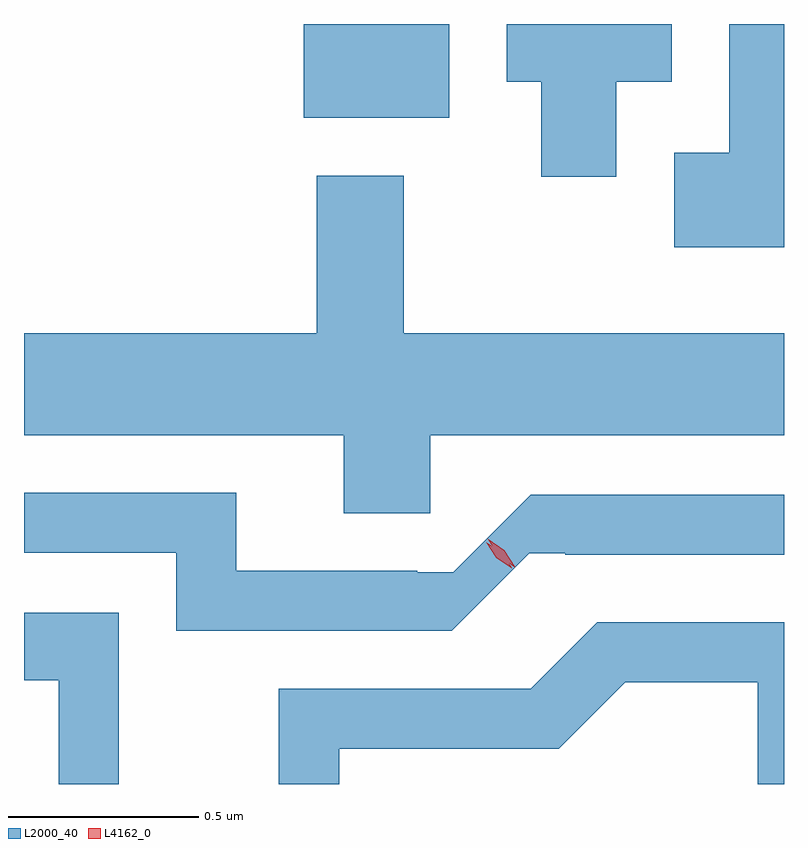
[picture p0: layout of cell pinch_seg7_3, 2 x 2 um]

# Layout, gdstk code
import gdstk
lib = gdstk.Library(unit=1e-6, precision=1e-09)
def R(c, l, rs):  # rectangles x0, y0, x1, y1
    for r in rs: c.add(gdstk.rectangle(r[:2], r[2:], *l))
def P(c, l, *ps):  # polygons
    for p in ps: c.add(gdstk.Polygon(p, *l))
L2000_40 = (2000, 40)
L4162_0 = (4162, 0)

pinch_seg7_3 = lib.new_cell('pinch_seg7_3')
R(pinch_seg7_3, L2000_40, [(1620.916,1779.531,1621.299,1779.778)])
P(pinch_seg7_3, L2000_40, [(1622.18,1779.778),(1622.036,1779.778),(1622.036,1779.439),(1621.891,1779.439),(1621.891,1779.191),(1622.18,1779.191)],
  [(1621.739,1779.626),(1621.884,1779.626),(1621.884,1779.778),(1621.451,1779.778),(1621.451,1779.626),(1621.541,1779.626),(1621.541,1779.376),(1621.739,1779.376)],
  [(1621.249,1778.696),(1622.18,1778.696),(1622.18,1778.964),(1621.179,1778.964),(1621.179,1779.379),(1620.951,1779.379),(1620.951,1778.964),(1620.18,1778.964),(1620.18,1778.696),(1621.021,1778.696),(1621.021,1778.491),(1621.249,1778.491)],
  [(1621.51,1778.385),(1621.604,1778.385),(1621.604,1778.381),(1622.18,1778.381),(1622.18,1778.539),(1621.514,1778.539),(1621.31,1778.335),(1621.215,1778.335),(1621.215,1778.339),(1620.739,1778.339),(1620.739,1778.544),(1620.18,1778.544),(1620.18,1778.386),(1620.581,1778.386),(1620.581,1778.181),(1621.306,1778.181)],
  [(1620.429,1778.229),(1620.18,1778.229),(1620.18,1778.051),(1620.271,1778.051),(1620.271,1777.778),(1620.429,1777.778)],
  [(1621.009,1777.871),(1621.587,1777.871),(1621.762,1778.046),(1622.111,1778.046),(1622.111,1777.778),(1622.18,1777.778),(1622.18,1778.204),(1621.689,1778.204),(1621.514,1778.029),(1620.851,1778.029),(1620.851,1777.778),(1621.009,1777.778)])
P(pinch_seg7_3, L4162_0, [(1621.472,1778.348),(1621.429,1778.379),(1621.4,1778.423),(1621.4,1778.424),(1621.4,1778.424),(1621.444,1778.393),(1621.473,1778.349),(1621.473,1778.348)],
  [(1621.463,1778.346),(1621.423,1778.373),(1621.396,1778.414),(1621.396,1778.414),(1621.397,1778.414),(1621.437,1778.387),(1621.463,1778.347),(1621.463,1778.346)])

lib.write_gds('pinch_seg7_3.gds')
